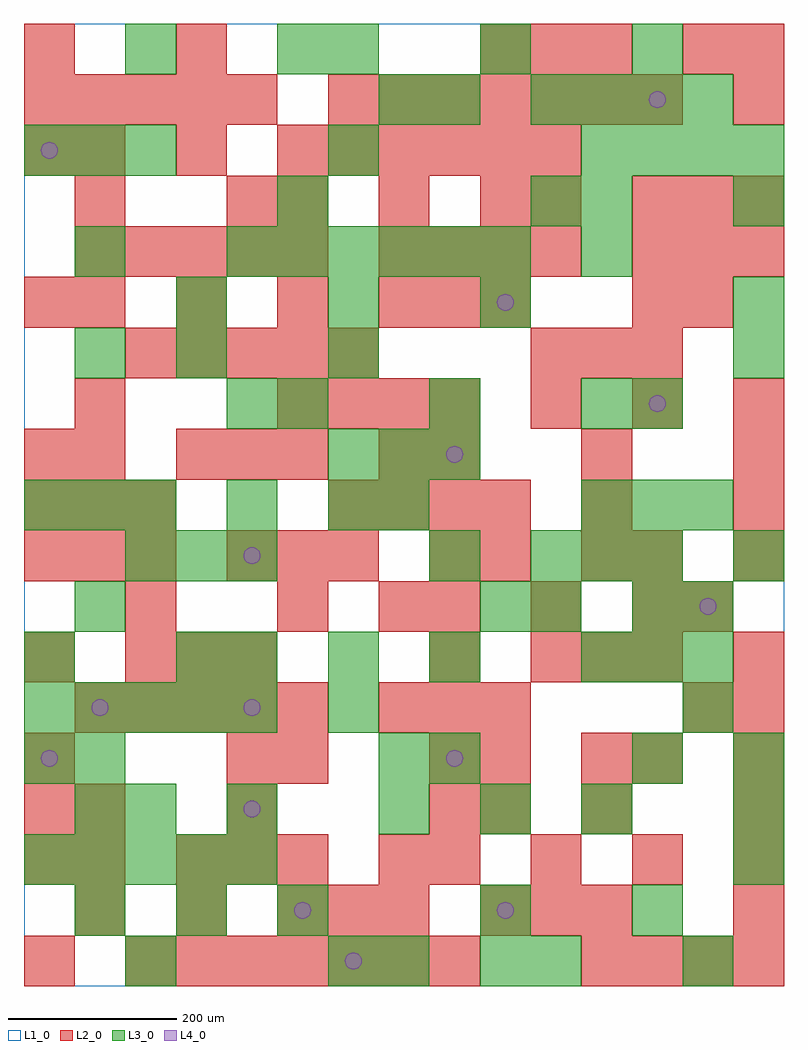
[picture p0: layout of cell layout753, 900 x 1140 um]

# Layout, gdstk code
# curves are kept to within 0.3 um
import gdstk
lib = gdstk.Library(unit=1e-6, precision=1e-09)
def R(c, l, rs):  # rectangles x0, y0, x1, y1
    for r in rs: c.add(gdstk.rectangle(r[:2], r[2:], *l))
def A(c, l, x, y, w, h, nx, ny, dx, dy):  # array of equal rectangles
    R(c, l, [(x+i*dx, y+j*dy, x+i*dx+w, y+j*dy+h) for i in range(nx) for j in range(ny)])
def P(c, l, *ps):  # polygons
    for p in ps: c.add(gdstk.Polygon(p, *l))
L1_0 = (1, 0)
L2_0 = (2, 0)
L3_0 = (3, 0)
L4_0 = (4, 0)

layout753 = lib.new_cell('layout753')
R(layout753, L1_0, [(0,0,900,1140)])
A(layout753, L2_0, 120, 0, 60, 60, 7, 1, 60, 0)
A(layout753, L2_0, 660, 0, 60, 60, 4, 1, 60, 0)
A(layout753, L2_0, 60, 60, 60, 60, 3, 2, 120, 900)
A(layout753, L2_0, 540, 60, 60, 60, 3, 2, 60, 1020)
A(layout753, L2_0, 0, 120, 60, 60, 1, 3, 0, 60)
A(layout753, L2_0, 180, 120, 60, 60, 3, 2, 60, 480)
A(layout753, L2_0, 480, 120, 60, 60, 4, 1, 120, 0)
A(layout753, L2_0, 840, 180, 60, 60, 1, 4, 0, 60)
A(layout753, L2_0, 480, 240, 60, 60, 1, 3, 0, 120)
A(layout753, L2_0, 60, 300, 60, 60, 5, 2, 60, 540)
A(layout753, L2_0, 420, 300, 60, 60, 3, 1, 60, 0)
A(layout753, L2_0, 120, 360, 60, 60, 3, 1, 60, 0)
A(layout753, L2_0, 600, 360, 60, 60, 3, 2, 60, 360)
A(layout753, L2_0, 480, 420, 60, 60, 3, 1, 120, 0)
A(layout753, L2_0, 0, 480, 60, 60, 3, 2, 60, 60)
A(layout753, L2_0, 240, 480, 60, 60, 3, 1, 60, 0)
A(layout753, L2_0, 360, 540, 60, 60, 4, 1, 60, 0)
A(layout753, L2_0, 0, 600, 60, 60, 1, 3, 0, 180)
A(layout753, L2_0, 480, 600, 60, 60, 3, 1, 180, 0)
A(layout753, L2_0, 300, 660, 60, 60, 4, 1, 60, 0)
A(layout753, L2_0, 600, 660, 60, 60, 3, 1, 120, 0)
A(layout753, L2_0, 120, 720, 60, 60, 5, 1, 60, 0)
A(layout753, L2_0, 60, 780, 60, 60, 4, 1, 120, 0)
A(layout753, L2_0, 420, 840, 60, 60, 4, 1, 60, 0)
A(layout753, L2_0, 720, 840, 60, 60, 3, 2, 60, 60)
A(layout753, L2_0, 300, 900, 60, 60, 3, 1, 120, 0)
A(layout753, L2_0, 360, 960, 60, 60, 5, 1, 60, 0)
A(layout753, L2_0, 0, 1020, 60, 60, 5, 1, 60, 0)
A(layout753, L2_0, 360, 1020, 60, 60, 7, 1, 60, 0)
R(layout753, L2_0, [(0,0,60,60), (360,60,420,120), (420,60,480,120), (840,60,900,120), (60,120,120,180), (420,120,480,180), (60,180,120,240), (240,180,300,240), (480,180,540,240), (540,180,600,240), (660,180,720,240), (240,240,300,300), (300,240,360,300), (540,240,600,300), (660,240,720,300), (720,240,780,300), (780,300,840,360), (0,360,60,420), (120,420,180,480), (300,420,360,480), (420,420,480,480), (780,420,840,480), (540,480,600,540), (660,480,720,540), (720,480,780,540), (840,480,900,540), (660,540,720,600), (840,540,900,600), (60,600,120,660), (420,600,480,660), (60,660,120,720), (480,780,540,840), (540,780,600,840), (720,780,780,840), (780,780,840,840), (60,900,120,960), (240,900,300,960), (600,900,660,960), (840,1020,900,1080), (0,1080,60,1140), (180,1080,240,1140), (780,1080,840,1140), (840,1080,900,1140)])
A(layout753, L3_0, 60, 60, 60, 60, 3, 1, 120, 0)
A(layout753, L3_0, 720, 60, 60, 60, 1, 3, 0, 180)
A(layout753, L3_0, 0, 120, 60, 60, 5, 2, 60, 180)
A(layout753, L3_0, 840, 120, 60, 60, 1, 3, 0, 60)
A(layout753, L3_0, 420, 180, 60, 60, 3, 1, 120, 0)
A(layout753, L3_0, 240, 360, 60, 60, 3, 1, 120, 0)
A(layout753, L3_0, 660, 360, 60, 60, 3, 2, 60, 180)
A(layout753, L3_0, 120, 480, 60, 60, 3, 1, 60, 0)
A(layout753, L3_0, 600, 480, 60, 60, 3, 1, 60, 0)
A(layout753, L3_0, 0, 540, 60, 60, 3, 2, 60, 420)
A(layout753, L3_0, 360, 600, 60, 60, 3, 1, 60, 0)
A(layout753, L3_0, 300, 660, 60, 60, 3, 1, 180, 0)
A(layout753, L3_0, 180, 780, 60, 60, 3, 1, 180, 0)
A(layout753, L3_0, 240, 840, 60, 60, 6, 1, 60, 0)
A(layout753, L3_0, 660, 960, 60, 60, 4, 1, 60, 0)
A(layout753, L3_0, 600, 1020, 60, 60, 4, 1, 60, 0)
A(layout753, L3_0, 360, 1080, 60, 60, 3, 1, 180, 0)
R(layout753, L3_0, [(120,0,180,60), (360,0,420,60), (420,0,480,60), (540,0,600,60), (600,0,660,60), (780,0,840,60), (540,60,600,120), (60,180,120,240), (120,180,180,240), (240,180,300,240), (0,240,60,300), (60,240,120,300), (420,240,480,300), (480,240,540,300), (360,300,420,360), (780,300,840,360), (0,360,60,420), (180,360,240,420), (60,420,120,480), (540,420,600,480), (600,420,660,480), (780,420,840,480), (480,480,540,540), (840,480,900,540), (240,540,300,600), (360,540,420,600), (420,540,480,600), (240,660,300,720), (720,660,780,720), (60,720,120,780), (180,720,240,780), (360,720,420,780), (840,720,900,780), (840,780,900,840), (60,840,120,900), (660,840,720,900), (300,900,360,960), (600,900,660,960), (660,900,720,960), (840,900,900,960), (360,960,420,1020), (420,1020,480,1080), (480,1020,540,1080), (120,1080,180,1140), (300,1080,360,1140)])
P(layout753, L4_0, [(40,270),(39.239,273.827),(37.071,277.071),(33.827,279.239),(30,280),(26.173,279.239),(22.929,277.071),(20.761,273.827),(20,270),(20.761,266.173),(22.929,262.929),(26.173,260.761),(30,260),(33.827,260.761),(37.071,262.929),(39.239,266.173)],
  [(40,990),(39.239,993.827),(37.071,997.071),(33.827,999.239),(30,1000),(26.173,999.239),(22.929,997.071),(20.761,993.827),(20,990),(20.761,986.173),(22.929,982.929),(26.173,980.761),(30,980),(33.827,980.761),(37.071,982.929),(39.239,986.173)],
  [(100,330),(99.239,333.827),(97.071,337.071),(93.827,339.239),(90,340),(86.173,339.239),(82.929,337.071),(80.761,333.827),(80,330),(80.761,326.173),(82.929,322.929),(86.173,320.761),(90,320),(93.827,320.761),(97.071,322.929),(99.239,326.173)],
  [(280,210),(279.239,213.827),(277.071,217.071),(273.827,219.239),(270,220),(266.173,219.239),(262.929,217.071),(260.761,213.827),(260,210),(260.761,206.173),(262.929,202.929),(266.173,200.761),(270,200),(273.827,200.761),(277.071,202.929),(279.239,206.173)],
  [(280,330),(279.239,333.827),(277.071,337.071),(273.827,339.239),(270,340),(266.173,339.239),(262.929,337.071),(260.761,333.827),(260,330),(260.761,326.173),(262.929,322.929),(266.173,320.761),(270,320),(273.827,320.761),(277.071,322.929),(279.239,326.173)],
  [(280,510),(279.239,513.827),(277.071,517.071),(273.827,519.239),(270,520),(266.173,519.239),(262.929,517.071),(260.761,513.827),(260,510),(260.761,506.173),(262.929,502.929),(266.173,500.761),(270,500),(273.827,500.761),(277.071,502.929),(279.239,506.173)],
  [(340,90),(339.239,93.827),(337.071,97.071),(333.827,99.239),(330,100),(326.173,99.239),(322.929,97.071),(320.761,93.827),(320,90),(320.761,86.173),(322.929,82.929),(326.173,80.761),(330,80),(333.827,80.761),(337.071,82.929),(339.239,86.173)],
  [(400,30),(399.239,33.827),(397.071,37.071),(393.827,39.239),(390,40),(386.173,39.239),(382.929,37.071),(380.761,33.827),(380,30),(380.761,26.173),(382.929,22.929),(386.173,20.761),(390,20),(393.827,20.761),(397.071,22.929),(399.239,26.173)],
  [(520,270),(519.239,273.827),(517.071,277.071),(513.827,279.239),(510,280),(506.173,279.239),(502.929,277.071),(500.761,273.827),(500,270),(500.761,266.173),(502.929,262.929),(506.173,260.761),(510,260),(513.827,260.761),(517.071,262.929),(519.239,266.173)],
  [(520,630),(519.239,633.827),(517.071,637.071),(513.827,639.239),(510,640),(506.173,639.239),(502.929,637.071),(500.761,633.827),(500,630),(500.761,626.173),(502.929,622.929),(506.173,620.761),(510,620),(513.827,620.761),(517.071,622.929),(519.239,626.173)],
  [(580,90),(579.239,93.827),(577.071,97.071),(573.827,99.239),(570,100),(566.173,99.239),(562.929,97.071),(560.761,93.827),(560,90),(560.761,86.173),(562.929,82.929),(566.173,80.761),(570,80),(573.827,80.761),(577.071,82.929),(579.239,86.173)],
  [(580,810),(579.239,813.827),(577.071,817.071),(573.827,819.239),(570,820),(566.173,819.239),(562.929,817.071),(560.761,813.827),(560,810),(560.761,806.173),(562.929,802.929),(566.173,800.761),(570,800),(573.827,800.761),(577.071,802.929),(579.239,806.173)],
  [(760,690),(759.239,693.827),(757.071,697.071),(753.827,699.239),(750,700),(746.173,699.239),(742.929,697.071),(740.761,693.827),(740,690),(740.761,686.173),(742.929,682.929),(746.173,680.761),(750,680),(753.827,680.761),(757.071,682.929),(759.239,686.173)],
  [(760,1050),(759.239,1053.827),(757.071,1057.071),(753.827,1059.239),(750,1060),(746.173,1059.239),(742.929,1057.071),(740.761,1053.827),(740,1050),(740.761,1046.173),(742.929,1042.929),(746.173,1040.761),(750,1040),(753.827,1040.761),(757.071,1042.929),(759.239,1046.173)],
  [(820,450),(819.239,453.827),(817.071,457.071),(813.827,459.239),(810,460),(806.173,459.239),(802.929,457.071),(800.761,453.827),(800,450),(800.761,446.173),(802.929,442.929),(806.173,440.761),(810,440),(813.827,440.761),(817.071,442.929),(819.239,446.173)])

lib.write_gds('layout753.gds')
